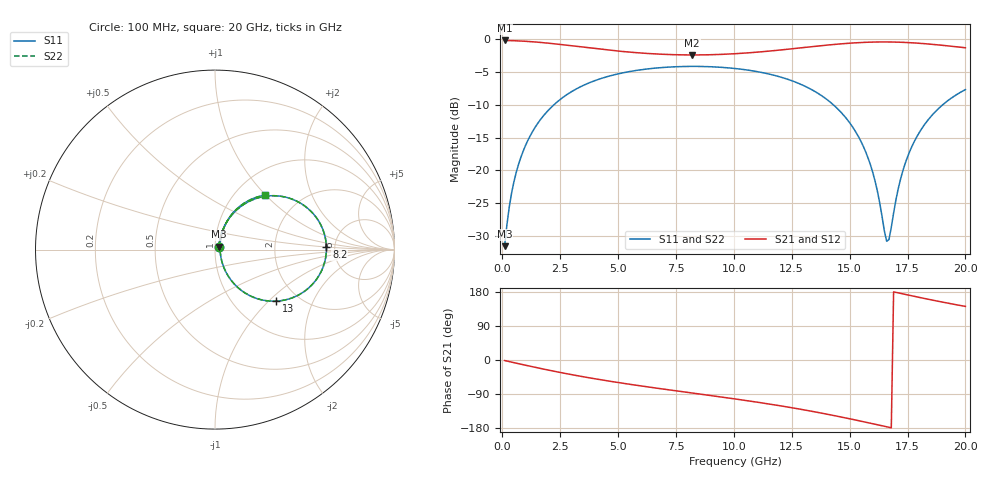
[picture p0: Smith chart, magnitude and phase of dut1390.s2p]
! Touchstone file exported from HFSS 2026.1.0
!  File:  C:/ffzhzh/LocalFiles/Ansys_Project_Files/temp_train_TSV_RDL_1390_1783349627_37376.aedt
!  Generated:  11:06:25 PM Jul  6, 2026
!  Design:  TSV_RDL
!  Project:  temp_train_TSV_RDL_1390_1783349627_37376
! Variables:
!  h_bsmrdl = 4.91um
!  h_ox = 20um
!  h_rdl = 5um
!  h_sub = 99.53um
!  h_tmrdl = 3.28um
!  h_tsv = 99.53um
!  h_via = 3um
!  l_bsmrdl = 529.22um
!  l_sub = 3375.52um
!  l_tmrdl = 322.62um
!  m_sub = 200um
!  pitch = 50.88um
!  r_tsv = 4.01um
!  s_tmrdl = 10um
!  w_bsmrdl = 17.94um
!  w_sub = 500um
!  w_tmrdl = 14.52um
!  x_tsv_center1 = 329.88um
!  x_tsv_center2 = 877.04um
!  x_tsv_center3 = 1214.18um
!  x_tsv_center4 = 1761.34um
!  x_tsv_center5 = 2098.48um
!  x_tsv_center6 = 2645.64um
# GHz S MA R 50.000000
! Terminal data exported
! Port[1] = TM_RDL1_1_T1
! Port[2] = TM_RDL5_1_T1
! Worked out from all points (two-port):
!   200 points, 100 MHz to 20 GHz, reference 50 ohm
!   highest |S21| = -0.19 dB at 100 MHz (marker M1); lowest = -2.4 dB at 8.2 GHz (marker M2)
!   |S21| within 3 dB of the highest: start of sweep to end of sweep
!   lowest |S11| = -31.5 dB at 100 MHz (marker M3), VSWR 1.05, Z = 52.2 + j1.63 ohm
!   |S11| at or under -10 dB: start of sweep to 2.225 GHz; 14.3 GHz to 19.02 GHz (4.715 GHz wide, 28.3 % of centre)
!   |S22| runs from -31.5 to -4.1 dB; largest |S21 - S12| = 1.7e-14
!   S11 on the Smith chart (normalised r, x): 100 MHz: 1.04, +0.03; 8.2 GHz: 4.27, +0.20; 13 GHz: 1.55, -1.11; 20 GHz: 1.36, +1.00
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0.1  0.0265 36.2  0.9789 -1.4  0.9789 -1.4  0.0265 36.2
! Gamma 0 0 0 0
! Port Impedance 50 0 50 0
0.3  0.05255 61.3  0.977 -4.2  0.977 -4.2  0.05255 61.3
0.5  0.08172 67.0  0.9744 -7.0  0.9744 -7.0  0.08172 67.0
1.1  0.169 66.9  0.9623 -15.1  0.9623 -15.1  0.169 66.9
2.1  0.3014 57.3  0.929 -28.0  0.929 -28.0  0.3014 57.3
3.5  0.4449 42.5  0.87 -44.3  0.87 -44.3  0.4449 42.5
5.2  0.5544 26.2  0.8065 -61.3  0.8065 -61.3  0.5544 26.2
6.8  0.6067 12.6  0.7698 -75.4  0.7698 -75.4  0.6067 12.6
8.2  0.621 1.4  0.7591 -87.1  0.7591 -87.1  0.621 1.4
10.1  0.5973 -14.0  0.7766 -103.2  0.7766 -103.2  0.5972 -14.0
13  0.4446 -40.3  0.8638 -131.3  0.8638 -131.3  0.4446 -40.2
13.4  0.4095 -44.3  0.8789 -135.7  0.8789 -135.7  0.4095 -44.2
14.6  0.2811 -56.3  0.9214 -150.0  0.9214 -150.0  0.2811 -56.3
15.5  0.1651 -63.5  0.9443 -161.5  0.9443 -161.5  0.1651 -63.5
16  0.09658 -62.8  0.9514 -168.2  0.9514 -168.2  0.09659 -62.7
16.2  0.06958 -58.4  0.9529 -170.8  0.9529 -170.8  0.0696 -58.3
16.6  0.02887 -8.6  0.9536 -176.2  0.9536 -176.2  0.02896 -8.5
16.7  0.02977 18.8  0.9533 -177.6  0.9533 -177.6  0.02986 18.8
17.2  0.08601 65.3  0.9487 175.8  0.9487 175.8  0.08606 65.2
17.8  0.1672 67.1  0.9371 167.9  0.9371 167.9  0.1672 67.1
18.7  0.2804 60.0  0.9101 156.5  0.9101 156.5  0.2804 60.0
20  0.4132 47.2  0.861 141.4  0.861 141.4  0.4132 47.2
